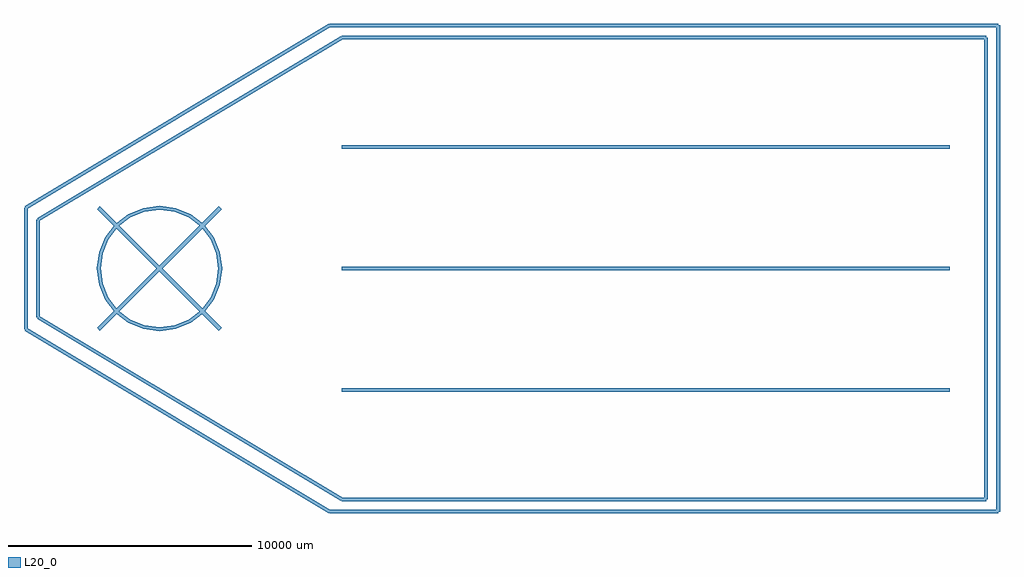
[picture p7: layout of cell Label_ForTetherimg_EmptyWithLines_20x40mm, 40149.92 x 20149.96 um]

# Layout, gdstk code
import gdstk
lib = gdstk.Library(unit=1e-6, precision=1e-09)
L20_0 = (20, 0)

label_fortetherimg_empty = lib.new_cell('Label_ForTetherimg_EmptyWithLines_20x40mm')
label_fortetherimg_empty.add(gdstk.FlexPath([(19999.96,9999.98),(19999.96,-9999.98)], 149.998, ends="flush", simple_path=True, layer=20, datatype=0))  # L20_0
label_fortetherimg_empty.add(gdstk.FlexPath([(-19999.96,2499.36),(-7500.62,9999.98)], 149.998, ends="flush", simple_path=True, layer=20, datatype=0))  # L20_0
label_fortetherimg_empty.add(gdstk.FlexPath([(-19999.96,-2499.36),(-7500.62,-9999.98)], 149.998, ends="flush", simple_path=True, layer=20, datatype=0))  # L20_0
label_fortetherimg_empty.add(gdstk.FlexPath([(-7500.62,9999.98),(19999.96,9999.98)], 149.998, ends="flush", simple_path=True, layer=20, datatype=0))  # L20_0
label_fortetherimg_empty.add(gdstk.FlexPath([(19999.96,-9999.98),(-7500.62,-9999.98)], 149.998, ends="flush", simple_path=True, layer=20, datatype=0))  # L20_0
label_fortetherimg_empty.add(gdstk.FlexPath([(-19999.96,2499.36),(-19999.96,-2499.36)], 149.998, ends="flush", simple_path=True, layer=20, datatype=0))  # L20_0
label_fortetherimg_empty.add(gdstk.FlexPath([(-17002.76,-2499.36),(-12001.5,2499.36)], 149.998, ends="flush", simple_path=True, layer=20, datatype=0))  # L20_0
label_fortetherimg_empty.add(gdstk.FlexPath([(-17002.76,2499.36),(-12001.5,-2499.36)], 149.998, ends="flush", simple_path=True, layer=20, datatype=0))  # L20_0
label_fortetherimg_empty.add(gdstk.FlexPath([(-12001.5,0),(-12086.664,646.882),(-12336.351,1249.68),(-12733.546,1767.314),(-13251.18,2164.509),(-13853.978,2414.196),(-14500.86,2499.36),(-15147.742,2414.196),(-15750.54,2164.509),(-16268.174,1767.314),(-16665.369,1249.68),(-16915.056,646.882),(-17000.22,0),(-16915.056,-646.882),(-16665.369,-1249.68),(-16268.174,-1767.314),(-15750.54,-2164.509),(-15147.742,-2414.196),(-14500.86,-2499.36),(-13853.978,-2414.196),(-13251.18,-2164.509),(-12733.546,-1767.314),(-12336.351,-1249.68),(-12086.664,-646.882),(-12001.5,0)], 149.998, ends="flush", simple_path=True, layer=20, datatype=0))  # L20_0
label_fortetherimg_empty.add(gdstk.FlexPath([(-19499.58,-1998.98),(-19499.58,1501.14)], 149.998, ends="flush", simple_path=True, layer=20, datatype=0))  # L20_0
label_fortetherimg_empty.add(gdstk.FlexPath([(-7000.24,-9499.6),(-19499.58,-1998.98)], 149.998, ends="flush", simple_path=True, layer=20, datatype=0))  # L20_0
label_fortetherimg_empty.add(gdstk.FlexPath([(19499.58,-9499.6),(-7000.24,-9499.6)], 149.998, ends="flush", simple_path=True, layer=20, datatype=0))  # L20_0
label_fortetherimg_empty.add(gdstk.FlexPath([(19499.58,9499.6),(19499.58,-9499.6)], 149.998, ends="flush", simple_path=True, layer=20, datatype=0))  # L20_0
label_fortetherimg_empty.add(gdstk.FlexPath([(-7000.24,9499.6),(19499.58,9499.6)], 149.998, ends="flush", simple_path=True, layer=20, datatype=0))  # L20_0
label_fortetherimg_empty.add(gdstk.FlexPath([(-19499.58,1998.98),(-7000.24,9499.6)], 149.998, ends="flush", simple_path=True, layer=20, datatype=0))  # L20_0
label_fortetherimg_empty.add(gdstk.FlexPath([(-19499.58,1998.98),(-19499.58,1501.14)], 149.998, ends="flush", simple_path=True, layer=20, datatype=0))  # L20_0
label_fortetherimg_empty.add(gdstk.FlexPath([(-7000.24,0),(18000.98,0)], 149.998, ends="flush", simple_path=True, layer=20, datatype=0))  # L20_0
label_fortetherimg_empty.add(gdstk.FlexPath([(-7000.24,-5001.26),(18000.98,-5001.26)], 149.998, ends="flush", simple_path=True, layer=20, datatype=0))  # L20_0
label_fortetherimg_empty.add(gdstk.FlexPath([(-7000.24,5001.26),(18000.98,5001.26)], 149.998, ends="flush", simple_path=True, layer=20, datatype=0))  # L20_0
label_fortetherimg_empty.add(gdstk.Label('type', (0,-12499.34), layer=9, texttype=0))
label_fortetherimg_empty.add(gdstk.Label('devicename', (0,12499.34), layer=9, texttype=0))

lib.write_gds('Label_ForTetherimg_EmptyWithLines_20x40mm.gds')
